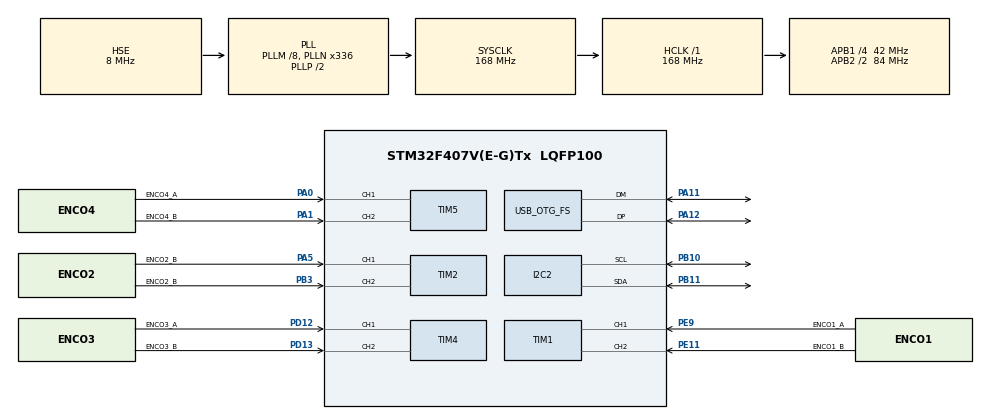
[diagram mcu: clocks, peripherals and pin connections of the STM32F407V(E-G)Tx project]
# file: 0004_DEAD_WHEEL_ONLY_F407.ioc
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Mcu.Family=STM32F4
Mcu.Name=STM32F407V(E-G)Tx
Mcu.Package=LQFP100
NVIC.OTG_FS_IRQn=true\:0\:0\:false\:false\:true\:true\:true\:true
NVIC.PriorityGroup=NVIC_PRIORITYGROUP_0
PA0-WKUP.GPIO_Label=ENCO4_A
PA0-WKUP.Signal=S_TIM5_CH1
PA1.GPIO_Label=ENCO4_B
PA1.Signal=S_TIM5_CH2
PA11.Mode=Device_Only
PA11.Signal=USB_OTG_FS_DM
PA12.Mode=Device_Only
PA12.Signal=USB_OTG_FS_DP
PA5.GPIO_Label=ENCO2_B
PA5.Signal=S_TIM2_CH1_ETR
PB10.GPIO_Pu=GPIO_PULLUP
PB10.Mode=I2C
PB10.Signal=I2C2_SCL
PB11.GPIO_Pu=GPIO_PULLUP
PB11.Mode=I2C
PB11.Signal=I2C2_SDA
PB3.GPIO_Label=ENCO2_B
PB3.Signal=S_TIM2_CH2
PD12.GPIO_Label=ENCO3_A
PD12.Signal=S_TIM4_CH1
PD13.GPIO_Label=ENCO3_B
PD13.Signal=S_TIM4_CH2
PE11.GPIO_Label=ENCO1_B
PE11.Signal=S_TIM1_CH2
PE9.GPIO_Label=ENCO1_A
PE9.Signal=S_TIM1_CH1
ProjectManager.HeapSize=0x200
ProjectManager.StackSize=0x400
ProjectManager.TargetToolchain=STM32CubeIDE
RCC.48MHZClocksFreq_Value=48000000
RCC.AHBFreq_Value=168000000
RCC.APB1CLKDivider=RCC_HCLK_DIV4
RCC.APB1Freq_Value=42000000
RCC.APB1TimFreq_Value=84000000
RCC.APB2CLKDivider=RCC_HCLK_DIV2
RCC.APB2Freq_Value=84000000
RCC.APB2TimFreq_Value=168000000
RCC.CortexFreq_Value=168000000
RCC.HCLKFreq_Value=168000000
RCC.HSE_VALUE=8000000
RCC.HSI_VALUE=16000000
RCC.PLLM=8
RCC.PLLN=336
RCC.PLLQ=7
RCC.SYSCLKFreq_VALUE=168000000
RCC.SYSCLKSource=RCC_SYSCLKSOURCE_PLLCLK
RCC.VCOOutputFreq_Value=336000000
SH.S_TIM1_CH1.0=TIM1_CH1,Encoder_Interface
SH.S_TIM1_CH2.0=TIM1_CH2,Encoder_Interface
SH.S_TIM2_CH1_ETR.0=TIM2_CH1,Encoder_Interface
SH.S_TIM2_CH2.0=TIM2_CH2,Encoder_Interface
SH.S_TIM4_CH1.0=TIM4_CH1,Encoder_Interface
SH.S_TIM4_CH2.0=TIM4_CH2,Encoder_Interface
SH.S_TIM5_CH1.0=TIM5_CH1,Encoder_Interface
SH.S_TIM5_CH2.0=TIM5_CH2,Encoder_Interface
USB_DEVICE.CLASS_NAME_FS=CDC
USB_DEVICE.VirtualMode-CDC_FS=Cdc
USB_DEVICE.VirtualModeFS=Cdc_FS
USB_OTG_FS.VirtualMode=Device_Only
VP_USB_DEVICE_VS_USB_DEVICE_CDC_FS.Mode=CDC_FS
board=STM32F407G-DISC1

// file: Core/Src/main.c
/* USER CODE BEGIN Header */
/**
  ******************************************************************************
  * @file           : main.c
  * @brief          : Main program body
  ******************************************************************************
  * @attention
  *
  * Copyright (c) 2026 STMicroelectronics.
  * All rights reserved.
  *
  * This software is licensed under terms that can be found in the LICENSE file
  * in the root directory of this software component.
  * If no LICENSE file comes with this software, it is provided AS-IS.
  *
  ******************************************************************************
  */
/* USER CODE END Header */
#include "main.h"
#include "usb_device.h"

/* USER CODE BEGIN Includes */
#include "usbd_cdc_if.h"
#include <EncoderLib.h>
#include <stdlib.h>
#include <stdio.h>
#include <stdbool.h>
#include <stdint.h>
#include <string.h>
#include <math.h>
/* USER CODE END Includes */

/* USER CODE BEGIN PD */
#define PI                   3.14159265358979323846
#define PERPENDICULAR_OFFSET 0.200
#define PARALLEL_OFFSET      0.200
#define WHEEL_RADIUS         0.075
#define CPR                  8192.0f
#define LOOP_DELAY_MS        10

#define ENCODER_F_TIM   htim1
#define ENCODER_L_TIM   htim2
#define ENCODER_R_TIM   htim4

/* USER CODE END PD */

I2C_HandleTypeDef hi2c2;

TIM_HandleTypeDef htim1;
TIM_HandleTypeDef htim2;
TIM_HandleTypeDef htim4;
TIM_HandleTypeDef htim5;

/* USER CODE BEGIN PV */
EncoderInstance_t FEnc;
EncoderInstance_t LEnc;
EncoderInstance_t REnc;

typedef struct {
    double xPosition;
    double yPosition;
    double thetaPosition;
    double prevTheta;
    long   prevF;
    long   prevL;
    long   prevR;
} Odometry_t;

Odometry_t Odo;
char txBuf[128];

/* USER CODE END PV */

void SystemClock_Config(void);
static void MX_GPIO_Init(void);
static void MX_TIM1_Init(void);
static void MX_TIM2_Init(void);
static void MX_TIM4_Init(void);
static void MX_TIM5_Init(void);
static void MX_I2C2_Init(void);
/* USER CODE BEGIN PFP */
float  degree2radian(float angle);
float  radian2degree(float angle);
void   EncodersInit(void);
void   EncodersUpdate(void);
void   OdometryInit(Odometry_t *Odo);
void   OdometryUpdate(Odometry_t *Odo);
void   PrintOdometry(Odometry_t *Odo);
/* USER CODE END PFP */

/* USER CODE BEGIN 0 */
float degree2radian(float angle) {
    return angle * ((float)PI / 180.0f);
}

float radian2degree(float angle) {
    return angle * (180.0f / (float)PI);
}

void EncodersInit(void) {
    HAL_TIM_Encoder_Start(&ENCODER_F_TIM, TIM_CHANNEL_ALL);
    HAL_TIM_Encoder_Start(&ENCODER_L_TIM, TIM_CHANNEL_ALL);
    HAL_TIM_Encoder_Start(&ENCODER_R_TIM, TIM_CHANNEL_ALL);
    resetEncoder(&FEnc);
    resetEncoder(&LEnc);
    resetEncoder(&REnc);
}

void EncodersUpdate(void) {
    updateEncoder(&FEnc, &ENCODER_F_TIM);
    updateEncoder(&LEnc, &ENCODER_L_TIM);
    updateEncoder(&REnc, &ENCODER_R_TIM);
}

void OdometryInit(Odometry_t *Odo) {
    EncodersInit();
    Odo->prevF         = FEnc.position;
    Odo->prevL         = LEnc.position;
    Odo->prevR         = REnc.position;
    Odo->xPosition     = 0.0;
    Odo->yPosition     = 0.0;
    Odo->thetaPosition = 0.0;
    Odo->prevTheta     = 0.0;
}

void OdometryUpdate(Odometry_t *Odo) {
    EncodersUpdate();

    long FCount = FEnc.position;
    long LCount = LEnc.position;
    long RCount = REnc.position;

    long dF = FCount - Odo->prevF;
    long dL = LCount - Odo->prevL;
    long dR = RCount - Odo->prevR;

    double wheelBase = 2.0 * PARALLEL_OFFSET;
    double deltaL    = ((double)dL / CPR) * 2.0 * PI * WHEEL_RADIUS;
    double deltaR    = ((double)dR / CPR) * 2.0 * PI * WHEEL_RADIUS;
    double delTheta  = (deltaR - deltaL) / wheelBase;

    if (delTheta >  PI) delTheta -= 2.0 * PI;
    if (delTheta < -PI) delTheta += 2.0 * PI;

    double midTheta = Odo->prevTheta + delTheta * 0.5;

    double deltaX = ((double)dF / CPR) * 2.0 * PI * WHEEL_RADIUS;
    double deltaY = (deltaL + deltaR) * 0.5;

    deltaX += delTheta * PERPENDICULAR_OFFSET;
    deltaY -= delTheta * PARALLEL_OFFSET;

    double dxG = deltaX * cos(midTheta) - deltaY * sin(midTheta);
    double dyG = deltaX * sin(midTheta) + deltaY * cos(midTheta);

    Odo->xPosition     += dxG;
    Odo->yPosition     += dyG;
    Odo->thetaPosition += delTheta;

    if (Odo->thetaPosition >  PI) Odo->thetaPosition -= 2.0 * PI;
    if (Odo->thetaPosition < -PI) Odo->thetaPosition += 2.0 * PI;

    Odo->prevF     = FCount;
    Odo->prevL     = LCount;
    Odo->prevR     = RCount;
    Odo->prevTheta = Odo->thetaPosition;
}

void PrintOdometry(Odometry_t *Odo) {
	sprintf(txBuf,
	    "X:%7.4f m  Y:%7.4f m  T:%7.2f deg  |  F:%6lld  L:%6lld  R:%6lld\r\n",
	    Odo->xPosition,
	    Odo->yPosition,
	    radian2degree((float)Odo->thetaPosition),
	    FEnc.position,
	    LEnc.position,
	    REnc.position
	);
	CDC_Transmit_FS((uint8_t*)txBuf, strlen(txBuf));
}

/* USER CODE END 0 */

int main(void)
{

  /* MCU Configuration--------------------------------------------------------*/

  /* Reset of all peripherals, Initializes the Flash interface and the Systick. */
  HAL_Init();

  /* Configure the system clock */
  SystemClock_Config();

  /* Initialize all configured peripherals */
  MX_GPIO_Init();
  MX_TIM1_Init();
  MX_TIM2_Init();
  MX_TIM4_Init();
  MX_TIM5_Init();
  MX_USB_DEVICE_Init();
  MX_I2C2_Init();
  /* USER CODE BEGIN 2 */
  HAL_Delay(500);
  OdometryInit(&Odo);

  /* USER CODE END 2 */

  /* Infinite loop */
  while (1)
  {

    /* USER CODE BEGIN 3 */
	  OdometryUpdate(&Odo);
	  PrintOdometry(&Odo);
	  HAL_Delay(LOOP_DELAY_MS);
  }
  /* USER CODE END 3 */
}

void SystemClock_Config(void)
{
  RCC_OscInitTypeDef RCC_OscInitStruct = {0};
  RCC_ClkInitTypeDef RCC_ClkInitStruct = {0};

  /** Configure the main internal regulator output voltage
  */
  __HAL_RCC_PWR_CLK_ENABLE();
  __HAL_PWR_VOLTAGESCALING_CONFIG(PWR_REGULATOR_VOLTAGE_SCALE1);

  /** Initializes the RCC Oscillators according to the specified parameters
  * in the RCC_OscInitTypeDef structure.
  */
  RCC_OscInitStruct.OscillatorType = RCC_OSCILLATORTYPE_HSE;
  RCC_OscInitStruct.HSEState = RCC_HSE_OFF;
  RCC_OscInitStruct.PLL.PLLState = RCC_PLL_ON;
  RCC_OscInitStruct.PLL.PLLSource = RCC_PLLSOURCE_HSE;
  RCC_OscInitStruct.PLL.PLLM = 8;
  RCC_OscInitStruct.PLL.PLLN = 336;
  RCC_OscInitStruct.PLL.PLLP = RCC_PLLP_DIV2;
  RCC_OscInitStruct.PLL.PLLQ = 7;
  if (HAL_RCC_OscConfig(&RCC_OscInitStruct) != HAL_OK)
  {
    Error_Handler();
  }

  /** Initializes the CPU, AHB and APB buses clocks
  */
  RCC_ClkInitStruct.ClockType = RCC_CLOCKTYPE_HCLK|RCC_CLOCKTYPE_SYSCLK
                              |RCC_CLOCKTYPE_PCLK1|RCC_CLOCKTYPE_PCLK2;
  RCC_ClkInitStruct.SYSCLKSource = RCC_SYSCLKSOURCE_PLLCLK;
  RCC_ClkInitStruct.AHBCLKDivider = RCC_SYSCLK_DIV1;
  RCC_ClkInitStruct.APB1CLKDivider = RCC_HCLK_DIV4;
  RCC_ClkInitStruct.APB2CLKDivider = RCC_HCLK_DIV2;

  if (HAL_RCC_ClockConfig(&RCC_ClkInitStruct, FLASH_LATENCY_5) != HAL_OK)
  {
    Error_Handler();
  }
}

static void MX_I2C2_Init(void)
{

  hi2c2.Instance = I2C2;
  hi2c2.Init.ClockSpeed = 100000;
  hi2c2.Init.DutyCycle = I2C_DUTYCYCLE_2;
  hi2c2.Init.OwnAddress1 = 0;
  hi2c2.Init.AddressingMode = I2C_ADDRESSINGMODE_7BIT;
  hi2c2.Init.DualAddressMode = I2C_DUALADDRESS_DISABLE;
  hi2c2.Init.OwnAddress2 = 0;
  hi2c2.Init.GeneralCallMode = I2C_GENERALCALL_DISABLE;
  hi2c2.Init.NoStretchMode = I2C_NOSTRETCH_DISABLE;
  if (HAL_I2C_Init(&hi2c2) != HAL_OK)
  {
    Error_Handler();
  }

}

static void MX_TIM1_Init(void)
{

  TIM_Encoder_InitTypeDef sConfig = {0};
  TIM_MasterConfigTypeDef sMasterConfig = {0};

  htim1.Instance = TIM1;
  htim1.Init.Prescaler = 0;
  htim1.Init.CounterMode = TIM_COUNTERMODE_UP;
  htim1.Init.Period = 65535;
  htim1.Init.ClockDivision = TIM_CLOCKDIVISION_DIV1;
  htim1.Init.RepetitionCounter = 0;
  htim1.Init.AutoReloadPreload = TIM_AUTORELOAD_PRELOAD_DISABLE;
  sConfig.EncoderMode = TIM_ENCODERMODE_TI1;
  sConfig.IC1Polarity = TIM_ICPOLARITY_RISING;
  sConfig.IC1Selection = TIM_ICSELECTION_DIRECTTI;
  sConfig.IC1Prescaler = TIM_ICPSC_DIV1;
  sConfig.IC1Filter = 0;
  sConfig.IC2Polarity = TIM_ICPOLARITY_RISING;
  sConfig.IC2Selection = TIM_ICSELECTION_DIRECTTI;
  sConfig.IC2Prescaler = TIM_ICPSC_DIV1;
  sConfig.IC2Filter = 0;
  if (HAL_TIM_Encoder_Init(&htim1, &sConfig) != HAL_OK)
  {
    Error_Handler();
  }
  sMasterConfig.MasterOutputTrigger = TIM_TRGO_RESET;
  sMasterConfig.MasterSlaveMode = TIM_MASTERSLAVEMODE_DISABLE;
  if (HAL_TIMEx_MasterConfigSynchronization(&htim1, &sMasterConfig) != HAL_OK)
  {
    Error_Handler();
  }

}

static void MX_TIM2_Init(void)
{

  TIM_Encoder_InitTypeDef sConfig = {0};
  TIM_MasterConfigTypeDef sMasterConfig = {0};

  htim2.Instance = TIM2;
  htim2.Init.Prescaler = 0;
  htim2.Init.CounterMode = TIM_COUNTERMODE_UP;
  htim2.Init.Period = 4294967295;
  htim2.Init.ClockDivision = TIM_CLOCKDIVISION_DIV1;
  htim2.Init.AutoReloadPreload = TIM_AUTORELOAD_PRELOAD_DISABLE;
  sConfig.EncoderMode = TIM_ENCODERMODE_TI1;
  sConfig.IC1Polarity = TIM_ICPOLARITY_RISING;
  sConfig.IC1Selection = TIM_ICSELECTION_DIRECTTI;
  sConfig.IC1Prescaler = TIM_ICPSC_DIV1;
  sConfig.IC1Filter = 0;
  sConfig.IC2Polarity = TIM_ICPOLARITY_RISING;
  sConfig.IC2Selection = TIM_ICSELECTION_DIRECTTI;
  sConfig.IC2Prescaler = TIM_ICPSC_DIV1;
  sConfig.IC2Filter = 0;
  if (HAL_TIM_Encoder_Init(&htim2, &sConfig) != HAL_OK)
  {
    Error_Handler();
  }
  sMasterConfig.MasterOutputTrigger = TIM_TRGO_RESET;
  sMasterConfig.MasterSlaveMode = TIM_MASTERSLAVEMODE_DISABLE;
  if (HAL_TIMEx_MasterConfigSynchronization(&htim2, &sMasterConfig) != HAL_OK)
  {
    Error_Handler();
  }

}

static void MX_TIM4_Init(void)
{

  TIM_Encoder_InitTypeDef sConfig = {0};
  TIM_MasterConfigTypeDef sMasterConfig = {0};

  htim4.Instance = TIM4;
  htim4.Init.Prescaler = 0;
  htim4.Init.CounterMode = TIM_COUNTERMODE_UP;
  htim4.Init.Period = 65535;
  htim4.Init.ClockDivision = TIM_CLOCKDIVISION_DIV1;
  htim4.Init.AutoReloadPreload = TIM_AUTORELOAD_PRELOAD_DISABLE;
  sConfig.EncoderMode = TIM_ENCODERMODE_TI1;
  sConfig.IC1Polarity = TIM_ICPOLARITY_RISING;
  sConfig.IC1Selection = TIM_ICSELECTION_DIRECTTI;
  sConfig.IC1Prescaler = TIM_ICPSC_DIV1;
  sConfig.IC1Filter = 0;
  sConfig.IC2Polarity = TIM_ICPOLARITY_RISING;
  sConfig.IC2Selection = TIM_ICSELECTION_DIRECTTI;
  sConfig.IC2Prescaler = TIM_ICPSC_DIV1;
  sConfig.IC2Filter = 0;
  if (HAL_TIM_Encoder_Init(&htim4, &sConfig) != HAL_OK)
  {
    Error_Handler();
  }
  sMasterConfig.MasterOutputTrigger = TIM_TRGO_RESET;
  sMasterConfig.MasterSlaveMode = TIM_MASTERSLAVEMODE_DISABLE;
  if (HAL_TIMEx_MasterConfigSynchronization(&htim4, &sMasterConfig) != HAL_OK)
  {
    Error_Handler();
  }

}

static void MX_TIM5_Init(void)
{

  TIM_Encoder_InitTypeDef sConfig = {0};
  TIM_MasterConfigTypeDef sMasterConfig = {0};

  htim5.Instance = TIM5;
  htim5.Init.Prescaler = 0;
  htim5.Init.CounterMode = TIM_COUNTERMODE_UP;
  htim5.Init.Period = 4294967295;
  htim5.Init.ClockDivision = TIM_CLOCKDIVISION_DIV1;
  htim5.Init.AutoReloadPreload = TIM_AUTORELOAD_PRELOAD_DISABLE;
  sConfig.EncoderMode = TIM_ENCODERMODE_TI1;
  sConfig.IC1Polarity = TIM_ICPOLARITY_RISING;
  sConfig.IC1Selection = TIM_ICSELECTION_DIRECTTI;
  sConfig.IC1Prescaler = TIM_ICPSC_DIV1;
  sConfig.IC1Filter = 0;
  sConfig.IC2Polarity = TIM_ICPOLARITY_RISING;
  sConfig.IC2Selection = TIM_ICSELECTION_DIRECTTI;
  sConfig.IC2Prescaler = TIM_ICPSC_DIV1;
  sConfig.IC2Filter = 0;
  if (HAL_TIM_Encoder_Init(&htim5, &sConfig) != HAL_OK)
  {
    Error_Handler();
  }
  sMasterConfig.MasterOutputTrigger = TIM_TRGO_RESET;
  sMasterConfig.MasterSlaveMode = TIM_MASTERSLAVEMODE_DISABLE;
  if (HAL_TIMEx_MasterConfigSynchronization(&htim5, &sMasterConfig) != HAL_OK)
  {
    Error_Handler();
  }

}

static void MX_GPIO_Init(void)
{

  /* GPIO Ports Clock Enable */
  __HAL_RCC_GPIOA_CLK_ENABLE();
  __HAL_RCC_GPIOE_CLK_ENABLE();
  __HAL_RCC_GPIOB_CLK_ENABLE();
  __HAL_RCC_GPIOD_CLK_ENABLE();

}

void Error_Handler(void)
{
  __disable_irq();
  while (1)
  {
  }
}
